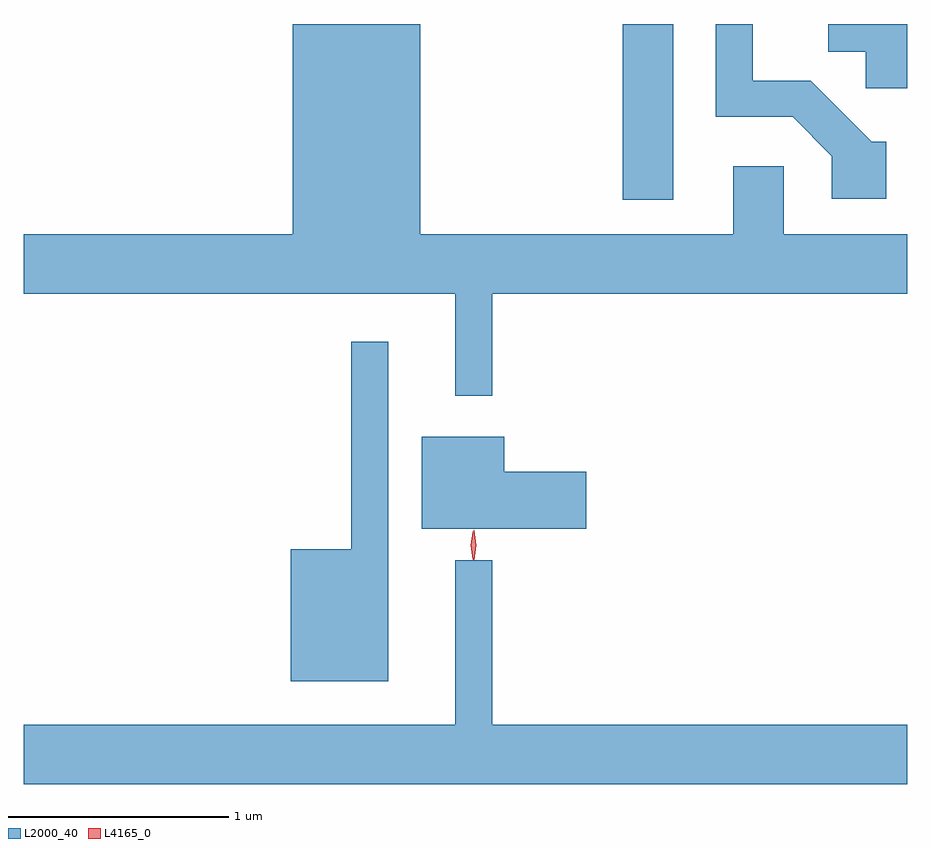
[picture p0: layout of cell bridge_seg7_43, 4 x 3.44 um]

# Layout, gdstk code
import gdstk
lib = gdstk.Library(unit=1e-6, precision=1e-09)
def R(c, l, rs):  # rectangles x0, y0, x1, y1
    for r in rs: c.add(gdstk.rectangle(r[:2], r[2:], *l))
def P(c, l, *ps):  # polygons
    for p in ps: c.add(gdstk.Polygon(p, *l))
L2000_40 = (2000, 40)
L4165_0 = (4165, 0)

bridge_seg7_43 = lib.new_cell('bridge_seg7_43')
R(bridge_seg7_43, L2000_40, [(1560.981,1761.361,1561.209,1762.157)])
P(bridge_seg7_43, L2000_40, [(1560.389,1760.936),(1562.268,1760.936),(1562.268,1761.204),(1561.709,1761.204),(1561.709,1761.514),(1561.481,1761.514),(1561.481,1761.204),(1560.064,1761.204),(1560.064,1762.157),(1559.486,1762.157),(1559.486,1761.204),(1558.268,1761.204),(1558.268,1760.936),(1560.221,1760.936),(1560.221,1760.473),(1560.389,1760.473)],
  [(1562.268,1762.157),(1561.911,1762.157),(1561.911,1762.031),(1562.081,1762.031),(1562.081,1761.866),(1562.268,1761.866)],
  [(1562.174,1761.624),(1562.107,1761.624),(1561.832,1761.899),(1561.569,1761.899),(1561.569,1762.157),(1561.401,1762.157),(1561.401,1761.736),(1561.749,1761.736),(1561.926,1761.559),(1561.926,1761.366),(1562.174,1761.366)],
  [(1559.919,1760.718),(1559.751,1760.718),(1559.751,1759.779),(1559.476,1759.779),(1559.476,1759.181),(1559.919,1759.181)],
  [(1560.814,1760.129),(1560.444,1760.129),(1560.444,1760.289),(1560.071,1760.289),(1560.071,1759.871),(1560.814,1759.871)],
  [(1562.268,1758.984),(1560.389,1758.984),(1560.389,1759.728),(1560.221,1759.728),(1560.221,1758.984),(1558.268,1758.984),(1558.268,1758.716),(1562.268,1758.716)])
P(bridge_seg7_43, L4165_0, [(1560.301,1759.733),(1560.301,1759.733),(1560.291,1759.796),(1560.3,1759.859),(1560.301,1759.86),(1560.301,1759.859),(1560.311,1759.796),(1560.302,1759.733)],
  [(1560.306,1759.73),(1560.297,1759.798),(1560.306,1759.866),(1560.307,1759.866),(1560.307,1759.866),(1560.317,1759.798),(1560.307,1759.73),(1560.307,1759.73)])

lib.write_gds('bridge_seg7_43.gds')
